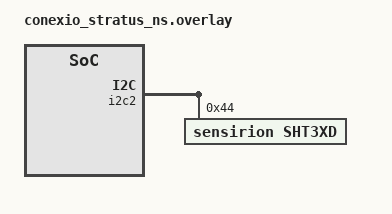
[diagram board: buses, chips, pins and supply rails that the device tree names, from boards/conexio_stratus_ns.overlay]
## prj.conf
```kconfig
#
# Copyright (c) 2024 Conexio Technologies, Inc
#
# SPDX-License-Identifier: Apache-2.0
#

CONFIG_STDOUT_CONSOLE=y
CONFIG_I2C=y
CONFIG_SENSOR=y
CONFIG_CBPRINTF_FP_SUPPORT=y
```

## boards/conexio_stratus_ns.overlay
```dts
/*
 * Copyright (c) 2024 Conexio Technologies, Inc
 *
 * SPDX-License-Identifier: Apache-2.0
 */

/*
 * Conexio Stratus nRF9160 device overlay configuration for SHT3XD sensor connected to I2C port
 *
 */
&i2c2 {
	status = "okay";
	sht3xd@44 {
		status = "okay";
		compatible = "sensirion,sht3xd";
		reg = <0x44>;
	};
};
```

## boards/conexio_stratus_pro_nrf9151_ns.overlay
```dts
/*
 * Copyright (c) 2024 Conexio Technologies, Inc
 *
 * SPDX-License-Identifier: Apache-2.0
 */

/*
 * Conexio Stratus Pro nRF9151 device overlay configuration for SHT3XD sensor connected to QWIIC port
 *
 */
&i2c2 {
	status = "okay";
	sht3xd@44 {
		status = "okay";
		compatible = "sensirion,sht3xd";
		reg = <0x44>;
	};
};
```

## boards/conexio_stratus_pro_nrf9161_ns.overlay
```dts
/*
 * Copyright (c) 2024 Conexio Technologies, Inc
 *
 * SPDX-License-Identifier: Apache-2.0
 */

/*
 * Conexio Stratus Pro nRF9161 device overlay configuration for SHT3XD sensor connected to QWIIC port
 *
 */
&i2c2 {
	status = "okay";
	sht3xd@44 {
		status = "okay";
		compatible = "sensirion,sht3xd";
		reg = <0x44>;
	};
};
```

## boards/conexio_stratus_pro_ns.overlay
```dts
/*
 * Copyright (c) 2024 Conexio Technologies, Inc
 *
 * SPDX-License-Identifier: Apache-2.0
 */

/*
 * Conexio Stratus Pro device overlay configuration for SHT3XD sensor connected to QWIIC port
 *
 */
&i2c2 {
	status = "okay";
	sht3xd@44 {
		status = "okay";
		compatible = "sensirion,sht3xd";
		reg = <0x44>;
	};
};
```

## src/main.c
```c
/*
 * Copyright (c) 2024 Conexio Technologies, Inc
 *
 * SPDX-License-Identifier: Apache-2.0
 */

#include <zephyr/kernel.h>
#include <zephyr/device.h>
#include <zephyr/drivers/sensor.h>
#include <stdio.h>

int main(void)
{
	printf("SHT3XD sensor sample running on %s\n", CONFIG_BOARD);

	const struct device *const dev = DEVICE_DT_GET_ONE(sensirion_sht3xd);
	int rc;

	if (!device_is_ready(dev)) {
		printf("Device %s is not ready\n", dev->name);
		return 0;
	}

	while (true) {
		struct sensor_value temp, hum;

		rc = sensor_sample_fetch(dev);
		if (rc == 0) {
			rc = sensor_channel_get(dev, SENSOR_CHAN_AMBIENT_TEMP,
						&temp);
		}
		if (rc == 0) {
			rc = sensor_channel_get(dev, SENSOR_CHAN_HUMIDITY,
						&hum);
		}
		if (rc != 0) {
			printf("SHT3XD: failed: %d\n", rc);
			break;
		}

		float temp_celsius = sensor_value_to_double(&temp);
		float temp_fahrenheit = (temp_celsius * 9.0 / 5.0) + 32.0;

		printf("SHT3XD: %.2f °C ; %.2f °F ; %.2f %%RH\n",
				temp_celsius,
				temp_fahrenheit,
				sensor_value_to_double(&hum));

		k_sleep(K_MSEC(2000));
	}
	return 0;
}
```
